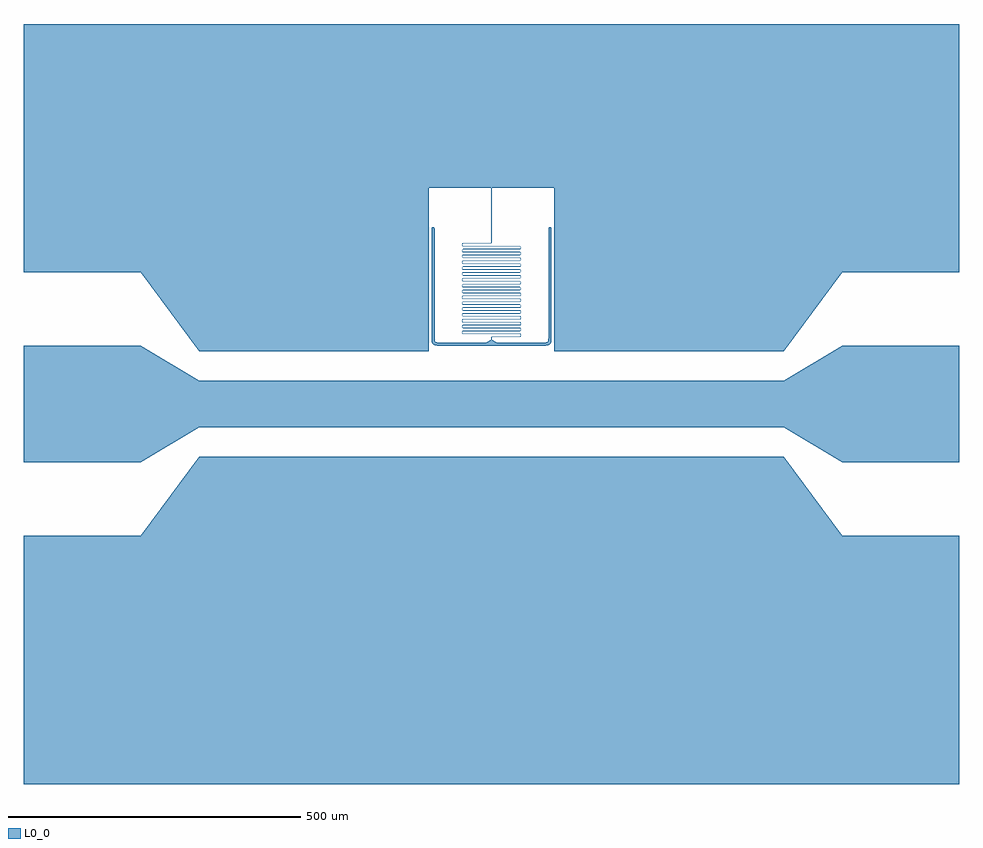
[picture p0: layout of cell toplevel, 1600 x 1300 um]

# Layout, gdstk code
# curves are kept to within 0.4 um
import gdstk
lib = gdstk.Library(unit=1e-6, precision=1e-09)
def P(c, l, *ps):  # polygons
    for p in ps: c.add(gdstk.Polygon(p, *l))
L0_0 = (0, 0)

toplevel = lib.new_cell('toplevel')
P(toplevel, L0_0, [(107.5,370),(107.5,90),(500,90),(600,225),(800,225),(800,650),(-800,650),(-800,225),(-600,225),(-500,90),(-107.5,90),(-107.5,370)],
  [(800,-650),(800,-225),(600,-225),(500,-90),(-500,-90),(-600,-225),(-800,-225),(-800,-650)],
  [(-100.109,302.498),(-101.768,301.768),(-102.5,300),(-102.5,111.406),(-101.9,106.281),(-99.754,102.653),(-96.439,100.671),(-91.738,100.005),(91.14,100),(96.274,100.617),(99.847,102.746),(101.865,106.171),(102.498,111.041),(102.5,300),(101.768,301.768),(100.541,302.441),(99.043,302.31),(97.502,300.109),(97.499,111.164),(97.218,108.096),(96.265,106.235),(94.404,105.282),(91.336,105.001),(-91.125,105),(-94.217,105.238),(-96.045,106.038),(-97.07,107.598),(-97.476,110.116),(-97.5,300),(-98.232,301.768)],
  [(0.25,110),(0.307,113.912),(0.64,114.492),(1.342,114.733),(48.976,114.809),(49.52,115.013),(49.917,115.374),(50.247,116.555),(50.144,119.16),(49.776,119.791),(49.14,120.15),(-48.496,120.255),(-49.365,120.513),(-49.721,121.24),(-49.711,123.822),(-49.512,124.333),(-49.124,124.627),(-48.191,124.75),(48.556,124.758),(49.695,125.136),(50.028,125.554),(50.209,126.121),(50.193,128.966),(49.917,129.626),(49.418,130.042),(48.209,130.25),(-48.496,130.255),(-49.344,130.496),(-49.71,131.171),(-49.724,133.737),(-49.571,134.24),(-49.27,134.554),(-48.208,134.75),(48.556,134.758),(49.661,135.109),(50.193,136.034),(50.213,138.85),(50.003,139.492),(49.6,139.935),(49.024,140.18),(48.236,140.25),(-48.496,140.255),(-49.333,140.488),(-49.701,141.125),(-49.732,143.666),(-49.365,144.487),(-48.226,144.75),(48.556,144.758),(49.644,145.096),(50.183,145.986),(50.224,148.773),(50.052,149.399),(49.711,149.85),(49.102,150.161),(48.245,150.25),(-48.446,150.253),(-49.202,150.409),(-49.61,150.836),(-49.75,153.13),(-49.698,153.89),(-49.479,154.376),(-49.063,154.65),(-48.421,154.747),(48.335,154.751),(49.583,155.053),(49.959,155.435),(50.18,155.976),(50.248,158.408),(50.105,159.276),(49.547,159.971),(48.546,160.243),(-48.294,160.25),(-49.264,160.443),(-49.691,161.081),(-49.659,164.035),(-49.276,164.55),(-48.512,164.744),(48.326,164.751),(49.574,165.047),(49.953,165.426),(50.176,165.957),(50.248,168.399),(50.105,169.276),(49.547,169.971),(48.546,170.243),(-48.286,170.25),(-49.258,170.439),(-49.688,171.066),(-49.662,174.028),(-49.282,174.547),(-48.512,174.744),(48.326,174.751),(49.565,175.041),(49.941,175.409),(50.171,175.937),(50.248,178.38),(50.108,179.266),(49.547,179.971),(48.546,180.243),(-48.286,180.25),(-49.252,180.435),(-49.684,181.051),(-49.662,184.028),(-49.282,184.547),(-48.512,184.744),(48.326,184.751),(49.547,185.029),(49.929,185.391),(50.164,185.908),(50.249,188.362),(50.108,189.266),(49.547,189.971),(48.546,190.243),(-48.286,190.25),(-49.24,190.429),(-49.678,191.029),(-49.664,194.021),(-49.282,194.547),(-48.512,194.744),(48.326,194.751),(49.547,195.029),(49.923,195.382),(50.158,195.889),(50.249,198.344),(50.112,199.256),(49.547,199.971),(48.546,200.243),(-48.286,200.25),(-49.233,200.425),(-49.672,201.008),(-49.664,204.021),(-49.282,204.547),(-48.512,204.744),(48.317,204.751),(49.529,205.018),(49.91,205.365),(50.15,205.86),(50.249,208.317),(50.112,209.256),(49.547,209.971),(48.546,210.243),(-48.286,210.25),(-49.221,210.419),(-49.666,210.986),(-49.664,214.021),(-49.282,214.547),(-48.504,214.744),(48.317,214.751),(49.52,215.013),(50.141,215.831),(50.25,218.29),(50.115,219.247),(49.556,219.965),(48.546,220.243),(-48.277,220.25),(-49.215,220.415),(-49.659,220.965),(-49.666,224.014),(-49.282,224.547),(-48.504,224.744),(48.317,224.751),(49.501,225.002),(50.129,225.792),(50.25,228.227),(50.119,229.237),(49.556,229.965),(48.546,230.243),(-48.277,230.25),(-49.202,230.409),(-49.65,230.937),(-49.668,234.007),(-49.287,234.543),(-48.504,234.744),(48.308,234.751),(49.483,234.992),(50.115,235.753),(50.25,236.791),(50.122,239.227),(49.565,239.959),(48.546,240.243),(-48.277,240.25),(-49.19,240.402),(-49.643,240.917),(-49.75,241.714),(-49.668,244.007),(-49.287,244.543),(-48.504,244.744),(48.308,244.751),(49.465,244.982),(50.101,245.715),(50.25,246.719),(50.125,249.218),(49.565,249.959),(48.546,250.243),(-48.269,250.25),(-49.17,250.393),(-49.63,250.883),(-49.749,251.672),(-49.67,253.999),(-49.287,254.543),(-48.504,254.744),(48.308,254.751),(49.446,254.972),(50.085,255.677),(50.249,256.674),(50.129,259.208),(49.574,259.953),(48.546,260.243),(-48.269,260.25),(-49.157,260.387),(-49.616,260.849),(-49.748,261.629),(-49.674,263.985),(-49.293,264.539),(-48.504,264.744),(48.299,264.751),(49.418,264.958),(50.065,265.629),(50.248,266.62),(50.132,269.198),(49.574,269.953),(48.546,270.243),(-48.26,270.25),(-49.137,270.379),(-49.601,270.817),(-49.747,271.579),(-49.688,273.934),(-49.355,274.496),(-48.65,274.734),(-1.629,274.751),(-0.582,274.958),(0.038,275.573),(0.25,276.782),(0.25,370),(-0.25,370),(-0.25,276.8),(-0.409,275.798),(-0.856,275.382),(-1.68,275.251),(-48.726,275.229),(-49.661,274.891),(-50.153,274.131),(-50.247,271.565),(-50.052,270.601),(-49.409,269.953),(-48.299,269.751),(48.504,269.744),(49.293,269.539),(49.674,268.985),(49.748,266.621),(49.61,265.836),(49.151,265.384),(48.269,265.25),(-48.546,265.243),(-49.574,264.953),(-50.132,264.198),(-50.249,261.638),(-50.073,260.648),(-49.427,259.962),(-48.299,259.751),(48.504,259.744),(49.293,259.539),(49.672,258.992),(49.749,256.655),(49.624,255.869),(49.164,255.39),(48.269,255.25),(-48.546,255.243),(-49.565,254.959),(-50.125,254.218),(-50.249,251.701),(-50.093,250.696),(-49.455,249.977),(-48.308,249.751),(48.504,249.744),(49.287,249.543),(49.67,248.999),(49.749,246.68),(49.635,245.896),(49.177,245.396),(48.269,245.25),(-48.546,245.243),(-49.565,244.959),(-50.122,244.227),(-50.25,241.755),(-50.108,240.734),(-49.474,239.987),(-48.308,239.751),(48.504,239.744),(49.287,239.543),(49.668,239.007),(49.648,235.93),(49.196,235.406),(48.277,235.25),(-48.546,235.243),(-49.556,234.965),(-50.119,234.237),(-50.25,233.183),(-50.122,230.773),(-49.492,229.997),(-48.317,229.751),(48.504,229.744),(49.282,229.547),(49.666,229.014),(49.655,225.951),(49.209,225.412),(48.277,225.25),(-48.546,225.243),(-49.556,224.965),(-50.115,224.247),(-50.25,223.263),(-50.135,220.811),(-49.51,220.007),(-48.317,219.751),(48.504,219.744),(49.282,219.547),(49.666,219.014),(49.664,215.979),(49.221,215.419),(48.277,215.25),(-48.546,215.243),(-49.556,214.965),(-50.115,214.247),(-50.249,213.299),(-50.144,210.84),(-49.52,210.013),(-48.317,209.751),(48.504,209.744),(49.282,209.547),(49.664,209.021),(49.67,206.001),(49.227,205.422),(48.286,205.25),(-48.546,205.243),(-49.547,204.971),(-50.112,204.256),(-50.249,203.326),(-50.153,200.869),(-49.917,200.374),(-49.538,200.024),(-48.326,199.751),(48.504,199.744),(49.276,199.55),(49.662,199.028),(49.677,196.022),(49.24,195.429),(48.286,195.25),(-48.546,195.243),(-49.547,194.971),(-50.112,194.256),(-50.249,193.344),(-50.161,190.898),(-49.929,190.391),(-49.547,190.029),(-48.326,189.751),(48.512,189.744),(49.282,189.547),(49.662,189.028),(49.68,186.037),(49.246,185.432),(48.286,185.25),(-48.546,185.243),(-49.547,184.971),(-50.108,184.266),(-50.249,183.371),(-50.169,180.927),(-49.935,180.4),(-49.556,180.035),(-48.326,179.751),(48.512,179.744),(49.282,179.547),(49.662,179.028),(49.686,176.058),(49.252,175.435),(48.286,175.25),(-48.546,175.243),(-49.547,174.971),(-50.105,174.276),(-50.248,173.39),(-50.174,170.947),(-49.947,170.417),(-49.565,170.041),(-48.326,169.751),(48.512,169.744),(49.276,169.55),(49.659,169.035),(49.69,166.073),(49.258,165.439),(48.294,165.25),(-48.546,165.243),(-49.547,164.971),(-50.105,164.276),(-50.248,163.399),(-50.178,160.966),(-49.953,160.426),(-49.574,160.047),(-48.326,159.751),(48.512,159.744),(49.276,159.55),(49.659,159.035),(49.693,156.088),(49.264,155.443),(48.294,155.25),(-48.445,155.247),(-49.276,155.105),(-49.85,154.711),(-50.169,154.073),(-50.25,153.13),(-50.234,151.331),(-50.028,150.554),(-49.446,149.972),(-48.481,149.754),(48.226,149.75),(48.927,149.69),(49.386,149.47),(49.734,148.65),(49.7,146.118),(49.327,145.484),(48.496,145.255),(-48.245,145.25),(-49.082,145.166),(-49.678,144.878),(-50.038,144.427),(-50.22,143.802),(-50.185,140.995),(-49.652,140.102),(-48.556,139.758),(48.217,139.75),(49.322,139.52),(49.594,139.196),(49.729,138.698),(49.706,136.148),(49.338,135.492),(48.496,135.255),(-48.227,135.25),(-49.52,134.987),(-49.965,134.556),(-50.204,133.908),(-50.2,131.073),(-49.678,130.122),(-48.556,129.758),(48.2,129.75),(49.202,129.591),(49.543,129.287),(49.719,128.776),(49.715,126.201),(49.355,125.504),(48.496,125.255),(-48.201,125.25),(-49.295,125.097),(-49.864,124.695),(-50.178,124.034),(-50.217,121.179),(-50.042,120.582),(-49.711,120.15),(-49.218,119.875),(-48.556,119.758),(49.014,119.666),(49.462,119.396),(49.696,118.897),(49.737,116.382),(49.439,115.58),(48.65,115.266),(1.044,115.195),(0.248,114.814),(-0.171,114.063),(-0.25,110)],
  [(10,105),(0.25,110),(-0.25,110),(-10,105)],
  [(-500,40),(-600,100),(-800,100),(-800,-100),(-600,-100),(-500,-40),(500,-40),(600,-100),(800,-100),(800,100),(600,100),(500,40)])

lib.write_gds('toplevel.gds')
